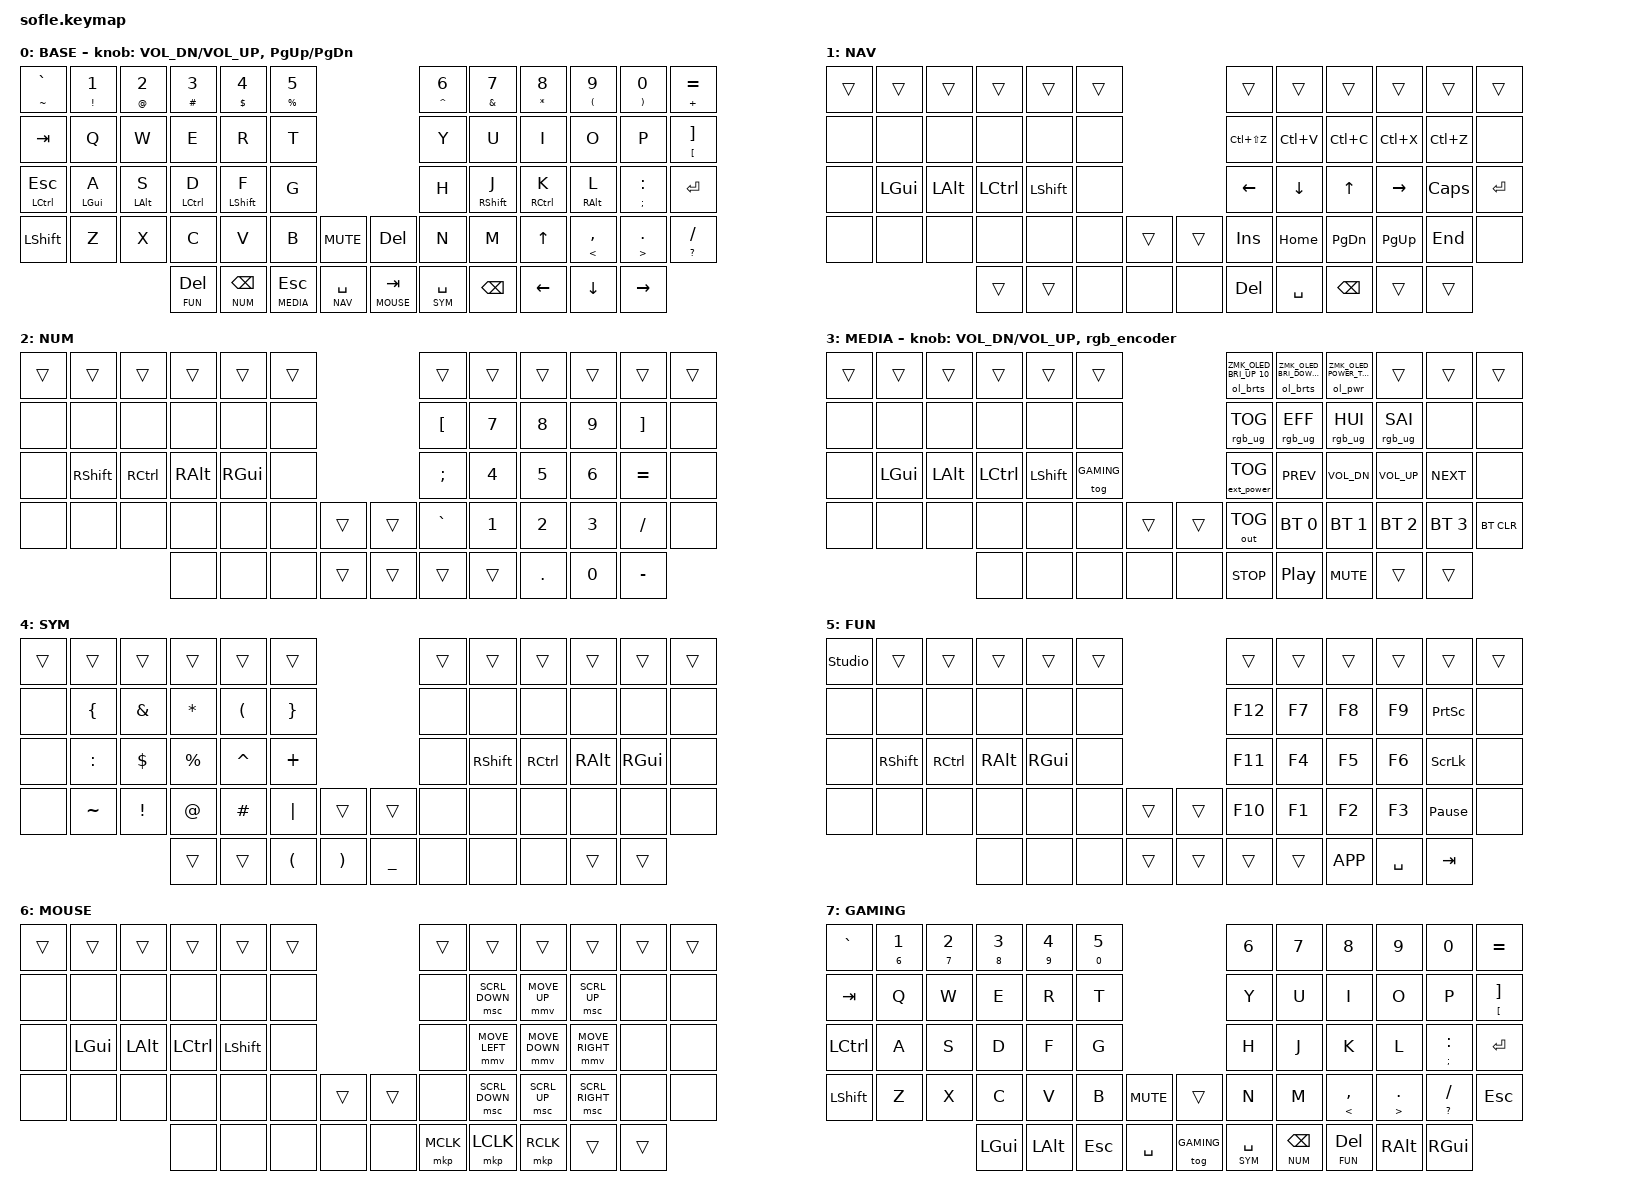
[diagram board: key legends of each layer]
/*
 * Copyright (c) 2020 The ZMK Contributors
 *
 * SPDX-License-Identifier: MIT
 */

//
//   Miryoku-style layout — QWERTY base, vim arrows (HJKL), GACS home row mods
//   Adapted from the Corne config for Sofle (6x4 + thumbs + encoders, 60 keys)
//
//   Layer 0: BASE    — QWERTY + home row mods + number row + arrows (right side)
//   Layer 1: NAV     — vim arrows, clipboard, nav (hold SPACE)
//   Layer 2: NUM     — numpad right hand (hold left-thumb BSPC key)
//   Layer 3: MEDIA   — media, BT, RGB (hold ESC)
//   Layer 4: SYM     — symbols left hand (hold right-thumb SPACE key)
//   Layer 5: FUN     — function keys right hand (hold left-thumb DEL key)
//   Layer 6: MOUSE   — mouse movement, scroll, buttons (hold TAB)

#include <behaviors.dtsi>
#include <dt-bindings/zmk/bt.h>
#include <dt-bindings/zmk/ext_power.h>
#include <dt-bindings/zmk/keys.h>
#include <dt-bindings/zmk/outputs.h>
#include <dt-bindings/zmk/pointing.h>
#include <dt-bindings/zmk/rgb.h>
#include <dt-bindings/zmk-oled-brightness/oled-brightness.h>

#define BASE  0
#define NAV   1
#define NUM   2
#define MEDIA 3
#define SYM   4
#define FUN   5
#define MOUSE 6
#define GAMING 7

// Sofle key positions (60 keys):
// Row 0 (num):    0  1  2  3  4  5      6  7  8  9 10 11
// Row 1 (alpha): 12 13 14 15 16 17     18 19 20 21 22 23
// Row 2 (home):  24 25 26 27 28 29     30 31 32 33 34 35
// Row 3 (bottom):36 37 38 39 40 41 42 43 44 45 46 47 48 49
// Row 4 (thumb):          50 51 52 53 54 55 56 57 58 59
//   (42/43 = inner thumb keys by the encoders; 50/51 & 58/59 = outer thumbs)

&mt {
    flavor = "tap-preferred";
    tapping-term-ms = <210>;
    quick-tap-ms = <185>;
    require-prior-idle-ms = <75>;
};

&lt {
    flavor = "balanced";
    tapping-term-ms = <210>;
    quick-tap-ms = <185>;
};

/ {
    combos {
        compatible = "zmk,combos";

        // -- Tier 1: Essential --

        combo_caps_word {
            bindings = <&caps_word>;
            key-positions = <28 31>;        // F + J (index home row)
            timeout-ms = <30>;
            require-prior-idle-ms = <150>;
            layers = <0 1 3 4 6>;
        };

        combo_esc {
            bindings = <&kp ESC>;
            key-positions = <14 15>;        // W + E
            timeout-ms = <30>;
            require-prior-idle-ms = <150>;
            layers = <0 1 3 4 6>;
        };

        combo_bspc {
            bindings = <&kp BSPC>;
            key-positions = <20 21>;        // I + O
            timeout-ms = <30>;
            require-prior-idle-ms = <150>;
            layers = <0 1 3 4 6>;
        };

        combo_del {
            bindings = <&kp DEL>;
            key-positions = <21 22>;        // O + P
            timeout-ms = <30>;
            require-prior-idle-ms = <150>;
            layers = <0 1 3 4 6>;
        };

        // -- Tier 2: High Value --

        combo_tab {
            bindings = <&kp TAB>;
            key-positions = <26 27>;        // S + D
            timeout-ms = <30>;
            require-prior-idle-ms = <150>;
            layers = <0 1 3 4 6>;
        };

        combo_enter {
            bindings = <&kp RET>;
            key-positions = <32 33>;        // K + L
            timeout-ms = <30>;
            require-prior-idle-ms = <150>;
            layers = <0 1 3 4 6>;
        };

        combo_copy {
            bindings = <&kp LC(C)>;
            key-positions = <38 39>;        // X + C
            timeout-ms = <30>;
            require-prior-idle-ms = <150>;
            layers = <0 1 3 4 6>;
        };

        combo_paste {
            bindings = <&kp LC(V)>;
            key-positions = <39 40>;        // C + V
            timeout-ms = <30>;
            require-prior-idle-ms = <150>;
            layers = <0 1 3 4 6>;
        };

        combo_cut {
            bindings = <&kp LC(X)>;
            key-positions = <38 40>;        // X + V (skip middle)
            timeout-ms = <30>;
            require-prior-idle-ms = <150>;
            layers = <0 1 3 4 6>;
        };

        // -- Tier 3: Vertical Symbol Combos --

        combo_minus {
            bindings = <&as UNDER MINUS>;
            key-positions = <31 45>;        // J + M (right index vertical)
            timeout-ms = <40>;
            require-prior-idle-ms = <100>;
            layers = <0 1 3 4 6>;
        };

        combo_equal {
            bindings = <&as PLUS EQUAL>;
            key-positions = <28 40>;        // F + V (left index vertical)
            timeout-ms = <40>;
            require-prior-idle-ms = <100>;
            layers = <0 1 3 4 6>;
        };

        combo_grave {
            bindings = <&as TILDE GRAVE>;
            key-positions = <26 38>;        // S + X (left ring vertical)
            timeout-ms = <40>;
            require-prior-idle-ms = <100>;
            layers = <0 1 3 4 6>;
        };

        combo_semi {
            bindings = <&as DQT SQT>;
            key-positions = <33 34>;        // L + ; (right ring+pinky home)
            timeout-ms = <30>;
            require-prior-idle-ms = <150>;
            layers = <0 1 3 4 6>;
        };
    };

    behaviors {
        as: auto_shift {
            compatible = "zmk,behavior-hold-tap";
            label = "AUTO_SHIFT";
            #binding-cells = <2>;
            tapping-term-ms = <210>;
            quick-tap-ms = <0>;
            flavor = "tap-preferred";
            bindings = <&kp>, <&kp>;
        };

        // Encoder RGB brightness control (rgb_ug cannot be a sensor binding directly)
        rgb_encoder: rgb_encoder {
            compatible = "zmk,behavior-sensor-rotate";
            #sensor-binding-cells = <0>;
            bindings = <&rgb_ug RGB_BRI>, <&rgb_ug RGB_BRD>;
        };

        ol_con: ol_con {
            compatible = "zmk-oled-brightness,behavior-oled-contrast";
            #binding-cells = <1>;
        };

        ol_cond: ol_cond {
            compatible = "zmk-oled-brightness,behavior-oled-contrast-default";
            #binding-cells = <0>;
        };

        ol_brt: ol_brt {
            compatible = "zmk-oled-brightness,behavior-oled-brightness";
            #binding-cells = <1>;
        };

        ol_brts: ol_brts {
            compatible = "zmk-oled-brightness,behavior-oled-brightness-step";
            #binding-cells = <2>;
        };

        ol_cons: ol_cons {
            compatible = "zmk-oled-brightness,behavior-oled-contrast-step";
            #binding-cells = <2>;
        };

        ol_pwr: ol_pwr {
            compatible = "zmk-oled-brightness,behavior-oled-power";
            #binding-cells = <1>;
        };

        ol_prof: ol_prof {
            compatible = "zmk-oled-brightness,behavior-oled-power-profile";
            #binding-cells = <1>;
        };
    };

    keymap {
        compatible = "zmk,keymap";

        base_layer {
            display-name = "BASE";
            bindings = <
&as TILDE GRAVE &as EXCL N1 &as AT N2 &as HASH N3   &as DLLR N4   &as PRCNT N5                                 &as CARET N6 &as AMPS N7   &as ASTRK N8  &as LPAR N9  &as RPAR N0    &as PLUS EQUAL
&kp TAB         &kp Q       &kp W     &kp E         &kp R         &kp T                                        &kp Y        &kp U         &kp I         &kp O        &kp P          &as LBKT RBKT
&mt LCTRL ESC   &mt LGUI A  &mt LALT S &mt LCTRL D  &mt LSHFT F   &kp G                                        &kp H        &mt RSHFT J   &mt RCTRL K   &mt RALT L   &as SEMI COLON &kp RET
&kp LSHFT       &kp Z       &kp X     &kp C         &kp V         &kp B         &kp C_MUTE     &kp DEL         &kp N        &kp M         &kp UP        &as LT COMMA  &as GT DOT    &as QMARK FSLH
                                      &lt FUN DEL   &lt NUM BSPC  &lt MEDIA ESC &lt NAV SPACE  &lt MOUSE TAB   &lt SYM SPACE &kp BSPC     &kp LEFT      &kp DOWN     &kp RIGHT
            >;

            sensor-bindings = <&inc_dec_kp C_VOL_DN C_VOL_UP &inc_dec_kp PG_UP PG_DN>;
        };

        nav_layer {
            display-name = "NAV";
            bindings = <
&trans         &trans      &trans      &trans        &trans        &trans                                       &trans       &trans      &trans        &trans       &trans       &trans
&none          &none       &none       &none         &none         &none                                        &kp LC(LS(Z)) &kp LC(V)  &kp LC(C)     &kp LC(X)    &kp LC(Z)    &none
&none          &kp LGUI    &kp LALT    &kp LCTRL     &kp LSHFT     &none                                        &kp LEFT     &kp DOWN    &kp UP        &kp RIGHT    &kp CAPS     &kp RET
&none          &none       &none       &none         &none         &none          &trans         &trans         &kp INS      &kp HOME    &kp PG_DN     &kp PG_UP    &kp END      &none
                                       &trans        &trans        &none          &none          &none          &kp DEL      &kp SPACE    &kp BSPC       &trans       &trans
            >;
        };

        num_layer {
            display-name = "NUM";
            bindings = <
&trans         &trans      &trans      &trans        &trans        &trans                                       &trans      &trans        &trans        &trans       &trans       &trans
&none          &none       &none       &none         &none         &none                                        &kp LBKT      &kp N7        &kp N8        &kp N9       &kp RBKT     &none
&none          &kp RSHFT   &kp RCTRL   &kp RALT      &kp RGUI      &none                                        &kp SEMI      &kp N4        &kp N5        &kp N6       &kp EQUAL    &none
&none          &none       &none       &none         &none         &none          &trans         &trans         &kp GRAVE     &kp N1        &kp N2       &kp N3       &kp FSLH     &none
                                       &none         &none         &none          &trans         &trans         &trans      &trans        &kp DOT       &kp N0       &kp MINUS
            >;
        };

        media_layer {
            display-name = "MEDIA";
            bindings = <
&trans         &trans      &trans      &trans        &trans        &trans                                       &ol_brts ZMK_OLED_BRIGHTNESS_UP 10 &ol_brts ZMK_OLED_BRIGHTNESS_DOWN 10 &ol_pwr ZMK_OLED_POWER_TOGGLE &trans &trans &trans
&none          &none       &none       &none         &none         &none                                        &rgb_ug RGB_TOG &rgb_ug RGB_EFF &rgb_ug RGB_HUI &rgb_ug RGB_SAI &none      &none
&none          &kp LGUI    &kp LALT    &kp LCTRL     &kp LSHFT     &tog GAMING                                  &ext_power EP_TOG &kp C_PREV   &kp C_VOL_DN   &kp C_VOL_UP &kp C_NEXT   &none
&none          &none       &none       &none         &none         &none          &trans         &trans         &out OUT_TOG   &bt BT_SEL 0   &bt BT_SEL 1   &bt BT_SEL 2 &bt BT_SEL 3 &bt BT_CLR
                                       &none         &none         &none          &none          &none          &kp C_STOP     &kp C_PP       &kp C_MUTE     &trans       &trans
            >;

            sensor-bindings = <&inc_dec_kp C_VOL_DN C_VOL_UP &rgb_encoder>;
        };

        sym_layer {
            display-name = "SYM";
            bindings = <
&trans         &trans      &trans      &trans        &trans        &trans                                       &trans      &trans        &trans        &trans       &trans       &trans
&none          &kp LBRC    &kp AMPS    &kp ASTRK     &kp LPAR      &kp RBRC                                     &none       &none         &none         &none        &none        &none
&none          &kp COLON   &kp DLLR    &kp PRCNT     &kp CARET     &kp PLUS                                     &none       &kp RSHFT     &kp RCTRL     &kp RALT     &kp RGUI     &none
&none          &kp TILDE   &kp EXCL    &kp AT        &kp HASH      &kp PIPE       &trans         &trans         &none       &none         &none         &none        &none        &none
                                       &trans        &trans        &kp LPAR       &kp RPAR       &kp UNDER      &none       &none         &none         &trans       &trans
            >;
        };

        fun_layer {
            display-name = "FUN";
            bindings = <
&studio_unlock        &trans      &trans      &trans        &trans        &trans                                       &trans      &trans        &trans        &trans       &trans       &trans
&none                 &none       &none       &none         &none         &none                                        &kp F12     &kp F7        &kp F8        &kp F9       &kp PSCRN    &none
&none                 &kp RSHFT   &kp RCTRL   &kp RALT      &kp RGUI      &none                                        &kp F11     &kp F4        &kp F5        &kp F6       &kp SLCK     &none
&none                 &none       &none       &none         &none         &none          &trans         &trans         &kp F10     &kp F1        &kp F2        &kp F3       &kp PAUSE_BREAK &none
                                       &none         &none         &none          &trans         &trans         &trans      &trans        &kp K_APP     &kp SPACE    &kp TAB
            >;
        };

        mouse_layer {
            display-name = "MOUSE";
            bindings = <
&trans         &trans      &trans      &trans        &trans        &trans                                       &trans         &trans          &trans         &trans           &trans     &trans
&none          &none       &none       &none         &none         &none                                        &none          &msc SCRL_DOWN  &mmv MOVE_UP   &msc SCRL_UP   &none      &none
&none          &kp LGUI    &kp LALT    &kp LCTRL     &kp LSHFT     &none                                        &none          &mmv MOVE_LEFT  &mmv MOVE_DOWN &mmv MOVE_RIGHT  &none      &none
&none          &none       &none       &none         &none         &none          &trans         &trans         &none          &msc SCRL_DOWN  &msc SCRL_UP   &msc SCRL_RIGHT  &none      &none
                                       &none         &none         &none          &none          &none          &mkp MCLK      &mkp LCLK       &mkp RCLK      &trans           &trans
            >;
        };

        gaming_layer {
            display-name = "GAMING";
            bindings = <
&kp GRAVE      &as N6 N1   &as N7 N2   &as N8 N3     &as N9 N4     &as N0 N5                                    &kp N6       &kp N7        &kp N8        &kp N9       &kp N0         &kp EQUAL   
&kp TAB        &kp Q       &kp W       &kp E         &kp R         &kp T                                        &kp Y        &kp U         &kp I         &kp O        &kp P          &as LBKT RBKT  
&kp LCTRL      &kp A       &kp S       &kp D         &kp F         &kp G                                        &kp H        &kp J         &kp K         &kp L        &as SEMI COLON &kp RET        
&kp LSHFT      &kp Z       &kp X       &kp C         &kp V         &kp B          &kp C_MUTE     &trans         &kp N        &kp M         &as LT COMMA  &as GT DOT   &as QMARK FSLH &kp ESC        
                                       &kp LGUI      &kp LALT      &kp ESC        &kp SPACE      &tog GAMING    &lt SYM SPACE &lt NUM BSPC &lt FUN DEL   &kp RALT     &kp RGUI                      
            >;
        };
    };
};
